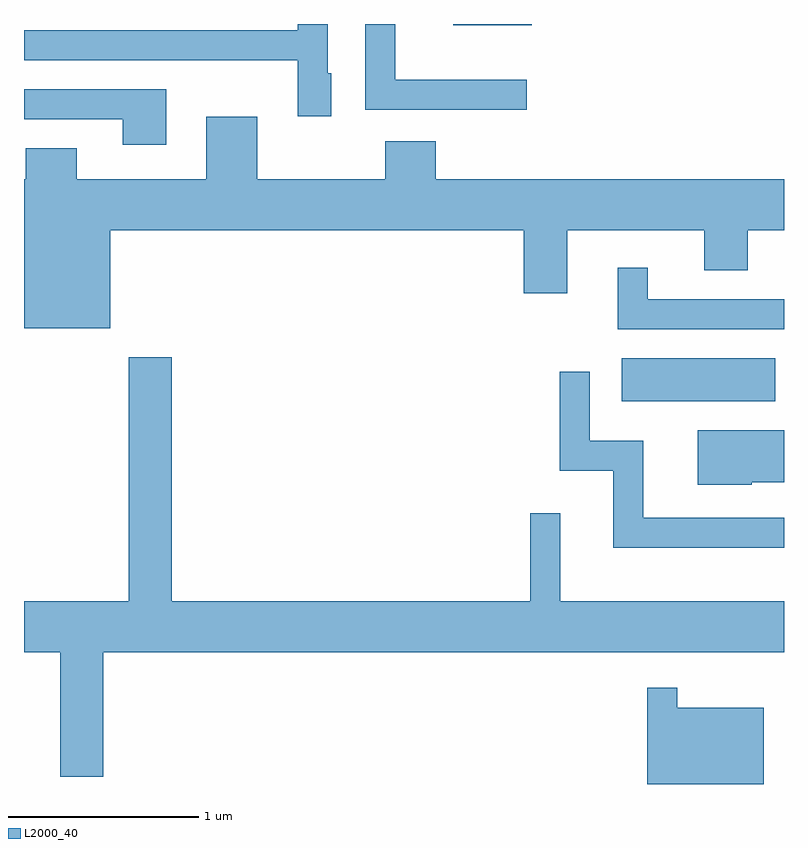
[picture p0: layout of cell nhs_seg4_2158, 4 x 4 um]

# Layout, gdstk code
import gdstk
lib = gdstk.Library(unit=1e-6, precision=1e-09)
def R(c, l, rs):  # rectangles x0, y0, x1, y1
    for r in rs: c.add(gdstk.rectangle(r[:2], r[2:], *l))
def P(c, l, *ps):  # polygons
    for p in ps: c.add(gdstk.Polygon(p, *l))
L2000_40 = (2000, 40)

nhs_seg4_2158 = lib.new_cell('nhs_seg4_2158')
R(nhs_seg4_2158, L2000_40, [(250.756,1355.996,251.564,1356.224), (249.871,1357.976,250.284,1357.982)])
P(nhs_seg4_2158, L2000_40, [(249.229,1357.724),(249.209,1357.724),(249.209,1357.982),(249.051,1357.982),(249.051,1357.949),(247.611,1357.949),(247.611,1357.791),(249.051,1357.791),(249.051,1357.496),(249.229,1357.496)],
  [(250.258,1357.689),(249.564,1357.689),(249.564,1357.982),(249.406,1357.982),(249.406,1357.531),(250.258,1357.531)],
  [(248.359,1357.639),(247.611,1357.639),(247.611,1357.481),(248.131,1357.481),(248.131,1357.346),(248.359,1357.346)],
  [(249.779,1357.364),(249.511,1357.364),(249.511,1357.164),(248.839,1357.164),(248.839,1357.494),(248.571,1357.494),(248.571,1357.164),(247.889,1357.164),(247.889,1357.329),(247.621,1357.329),(247.621,1357.164),(247.611,1357.164),(247.611,1356.381),(248.064,1356.381),(248.064,1356.896),(250.241,1356.896),(250.241,1356.566),(250.469,1356.566),(250.469,1356.896),(251.191,1356.896),(251.191,1356.686),(251.419,1356.686),(251.419,1356.896),(251.611,1356.896),(251.611,1357.164),(249.779,1357.164)],
  [(251.611,1356.534),(250.894,1356.534),(250.894,1356.698),(250.736,1356.698),(250.736,1356.376),(251.611,1356.376)],
  [(248.029,1354.676),(251.611,1354.676),(251.611,1354.944),(250.434,1354.944),(250.434,1355.408),(250.276,1355.408),(250.276,1354.944),(248.389,1354.944),(248.389,1356.229),(248.161,1356.229),(248.161,1354.944),(247.611,1354.944),(247.611,1354.676),(247.801,1354.676),(247.801,1354.021),(248.029,1354.021)],
  [(251.611,1355.384),(250.869,1355.384),(250.869,1355.789),(250.589,1355.789),(250.589,1356.153),(250.431,1356.153),(250.431,1355.631),(250.711,1355.631),(250.711,1355.226),(251.611,1355.226)],
  [(251.44,1355.571),(251.611,1355.571),(251.611,1355.844),(251.156,1355.844),(251.156,1355.556),(251.44,1355.556)],
  [(251.504,1354.384),(251.049,1354.384),(251.049,1354.488),(250.891,1354.488),(250.891,1353.982),(251.504,1353.982)])

lib.write_gds('nhs_seg4_2158.gds')
